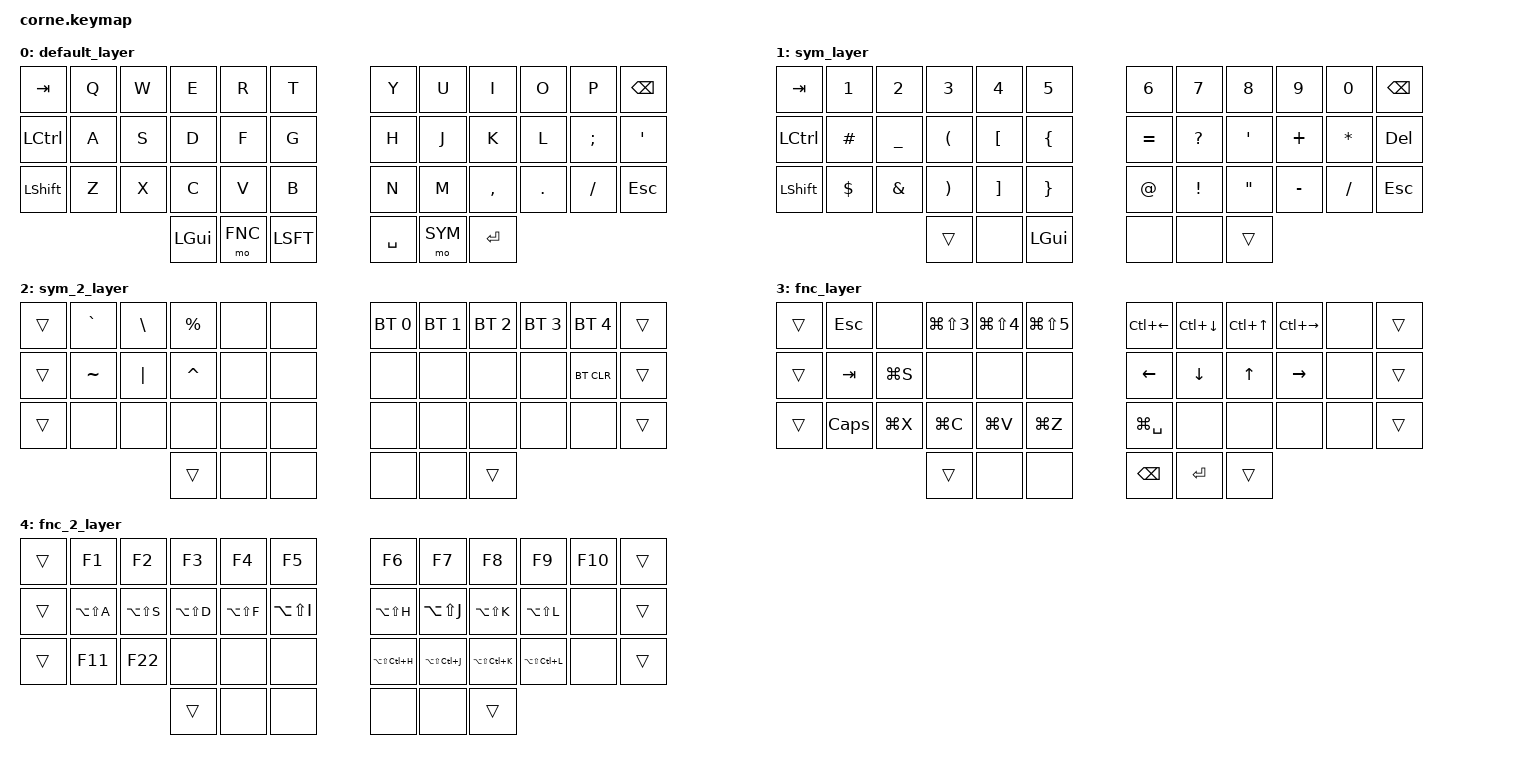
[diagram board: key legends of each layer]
/*
 * Copyright (c) 2020 The ZMK Contributors
 *
 * SPDX-License-Identifier: MIT
 */

#include <behaviors.dtsi>
#include <dt-bindings/zmk/keys.h>
#include <dt-bindings/zmk/bt.h>

#define QWERTY 0
#define SYM    1
#define SYM_2  2
#define FNC    3
#define FNC_2  4

/*
 * Corne (crkbd) 6-column layout — physical key positions
 *
 *   0   1   2   3   4   5        6   7   8   9  10  11
 *  12  13  14  15  16  17       18  19  20  21  22  23
 *  24  25  26  27  28  29       30  31  32  33  34  35
 *              36  37  38       39  40  41
 *
 * The inner 3x5 + inner 2 thumbs come straight from the Ferris Sweep keymap.
 * The extra outer columns (0/12/24 and 11/23/35) and outer thumbs (36/41)
 * are the new keys added to turn this into a full typing keyboard.
 */

&mt {
  //  flavor = "tap-preferred";
   // tapping_term_ms = <200>;
};

/ {

    combos {
        compatible = "zmk,combos";

        // right inner thumbs -> toggle SYM_2  (was sweep positions 32 33)
        combo_sym2 {
            timeout-ms = <50>;
            key-positions = <39 40>;
            bindings = <&tog SYM_2>;
        };

        // left inner thumbs -> toggle FNC_2  (was sweep positions 30 31)
        combo_fun2 {
            timeout-ms = <50>;
            key-positions = <37 38>;
            bindings = <&tog FNC_2>;
        };

    };

    keymap {
        compatible = "zmk,keymap";

/*
 | TAB | Q | W | E | R | T |     | Y | U | I | O | P | BSPC |
 | CTL | A | S | D | F | G |     | H | J | K | L | ;:| '"   |
 | SFT | Z | X | C | V | B |     | N | M | ,<| .>| /?| ESC  |
             | CMD | FUN | SFT | | SPACE | SYM | ENTER |
  */

        default_layer {
            bindings = <
        &kp TAB    &kp Q   &kp W   &kp E   &kp R   &kp T           &kp Y   &kp U   &kp I    &kp O   &kp P     &kp BSPC
        &kp LCTRL  &kp A   &kp S   &kp D   &kp F   &kp G           &kp H   &kp J   &kp K    &kp L   &kp SEMI  &kp SQT
        &kp LSHFT  &kp Z   &kp X   &kp C   &kp V   &kp B           &kp N   &kp M   &kp CMMA &kp DOT &kp SLASH &kp ESC
                                &kp LGUI  &mo FNC  &kp LSFT    &kp SPC  &mo SYM  &kp RET
            >;
        };

/*
 | TAB | 1 | 2 | 3 | 4 | 5 |     | 6 | 7 | 8 | 9 | 0 | BSPC |
 | CTL | # | _ | ( | [ | { |     | = | ? | ' | + | * | DEL  |
 | SFT | $ | & | ) | ] | } |     | @ | ! | " | - | / | ESC  |
             |     | CMD |     | |     |     |     |
  */

        sym_layer {
            bindings = <
        &kp TAB    &kp NUM_1  &kp NUM_2  &kp NUM_3  &kp NUM_4  &kp NUM_5       &kp NUM_6  &kp NUM_7  &kp NUM_8  &kp NUM_9  &kp NUM_0  &kp BSPC
        &kp LCTRL  &kp HASH   &kp UNDER  &kp LPAR   &kp LBKT   &kp LBRC        &kp EQUAL  &kp QMARK  &kp SQT    &kp PLUS   &kp STAR   &kp DEL
        &kp LSHFT  &kp DLLR   &kp AMPS   &kp RPAR   &kp RBKT   &kp RBRC        &kp AT     &kp EXCL   &kp DQT    &kp MINUS  &kp SLASH  &kp ESC
                                            &trans  &none      &kp LGUI    &none    &none    &trans
            >;
        };

/*
 | ` | \ | % |   |   |     | BT0 | BT1 | BT2 | BT3 | BT4 |
 | ~ | | | ^ |   |   |     |     |     |     |     | BTCLR |
 |   |   |   |   |   |     |     |     |     |     |       |
  */

        sym_2_layer {
            bindings = <
        &trans  &kp GRAVE  &kp BSLH  &kp PRCNT  &none  &none       &bt BT_SEL 0  &bt BT_SEL 1  &bt BT_SEL 2  &bt BT_SEL 3  &bt BT_SEL 4  &trans
        &trans  &kp TILDE  &kp PIPE  &kp CARET  &none  &none       &none         &none         &none         &none         &bt BT_CLR    &trans
        &trans  &none      &none     &none      &none  &none       &none         &none         &none         &none         &none         &trans
                                        &trans  &none  &none       &none  &none  &trans
            >;
        };

/*
 | ESC |     | ⌘3 | ⌘4 | ⌘5 |     | C← | C↓ | C↑ | C→ |   |
 | TAB | ⌘S  |    |    |    |     | ←  | ↓  | ↑  | →  |   |
 | CAP | ⌘X  | ⌘C | ⌘V | ⌘Z |     | ⌘␣ |    |    |    |   |
             |     |     |     | | BSPC | ENTER |     |
  */

        fnc_layer {
            bindings = <
        &trans  &kp ESC   &none       &kp LG(LS(NUMBER_3))  &kp LG(LS(NUMBER_4))  &kp LG(LS(NUMBER_5))     &kp LC(LEFT)   &kp LC(DOWN)  &kp LC(UP)  &kp LC(RIGHT)  &none  &trans
        &trans  &kp TAB   &kp LG(S)   &none                 &none                 &none                    &kp LEFT       &kp DOWN      &kp UP      &kp RIGHT      &none  &trans
        &trans  &kp CAPS  &kp LG(X)   &kp LG(C)             &kp LG(V)             &kp LG(Z)                &kp LG(SPACE)  &none         &none       &none          &none  &trans
                                                    &trans  &none  &none      &kp BSPC  &kp ENTER  &trans
            >;
        };

/*
 | F1  | F2  | F3 | F4 | F5 |     | F6  | F7  | F8  | F9  | F10 |
 | ⌥⇧A | ⌥⇧S |⌥⇧D |⌥⇧F |⌥⇧I |     | ⌥⇧H | ⌥⇧J | ⌥⇧K | ⌥⇧L |     |
 | F11 | F22 |    |    |    |     |⌥⇧⌃H |⌥⇧⌃J |⌥⇧⌃K |⌥⇧⌃L |     |
  */

        fnc_2_layer {
            bindings = <
        &trans  &kp F1         &kp F2         &kp F3         &kp F4         &kp F5          &kp F6             &kp F7             &kp F8             &kp F9             &kp F10  &trans
        &trans  &kp LA(LS(A))  &kp LA(LS(S))  &kp LA(LS(D))  &kp LA(LS(F))  &kp LA(LS(I))   &kp LA(LS(H))      &kp LA(LS(J))      &kp LA(LS(K))      &kp LA(LS(L))      &none    &trans
        &trans  &kp F11        &kp F22        &none          &none          &none           &kp LA(LS(LC(H)))  &kp LA(LS(LC(J)))  &kp LA(LS(LC(K)))  &kp LA(LS(LC(L)))  &none    &trans
                                                    &trans  &none  &none      &none  &none  &trans
            >;
        };

    };
};
